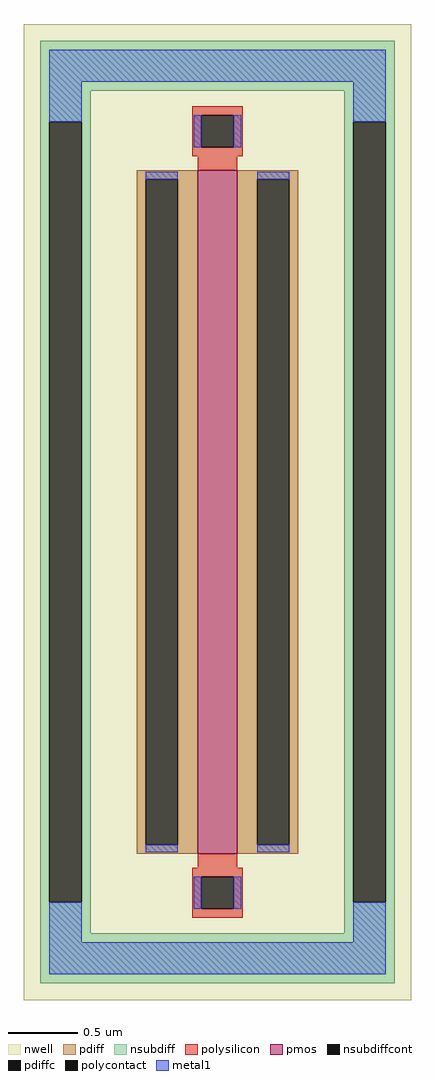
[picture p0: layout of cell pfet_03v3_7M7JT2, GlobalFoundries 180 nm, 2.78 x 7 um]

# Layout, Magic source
magic
tech gf180mcuD
magscale 1 10
<< nwell >>
rect -278 -700 278 700
<< pmos >>
rect -28 -490 28 490
<< pdiff >>
rect -116 477 -28 490
rect -116 -477 -103 477
rect -57 -477 -28 477
rect -116 -490 -28 -477
rect 28 477 116 490
rect 28 -477 57 477
rect 103 -477 116 477
rect 28 -490 116 -477
<< pdiffc >>
rect -103 -477 -57 477
rect 57 -477 103 477
<< nsubdiff >>
rect -254 604 254 676
rect -254 560 -182 604
rect -254 -560 -241 560
rect -195 -560 -182 560
rect 182 560 254 604
rect -254 -604 -182 -560
rect 182 -560 195 560
rect 241 -560 254 560
rect 182 -604 254 -560
rect -254 -676 254 -604
<< nsubdiffcont >>
rect -241 -560 -195 560
rect 195 -560 241 560
<< polysilicon >>
rect -36 569 36 582
rect -36 523 -23 569
rect 23 523 36 569
rect -36 510 36 523
rect -28 490 28 510
rect -28 -510 28 -490
rect -36 -523 36 -510
rect -36 -569 -23 -523
rect 23 -569 36 -523
rect -36 -582 36 -569
<< polycontact >>
rect -23 523 23 569
rect -23 -569 23 -523
<< metal1 >>
rect -241 617 241 663
rect -241 560 -195 617
rect -34 523 -23 569
rect 23 523 34 569
rect 195 560 241 617
rect -103 477 -57 488
rect -103 -488 -57 -477
rect 57 477 103 488
rect 57 -488 103 -477
rect -241 -617 -195 -560
rect -34 -569 -23 -523
rect 23 -569 34 -523
rect 195 -617 241 -560
rect -241 -663 241 -617
<< properties >>
string FIXED_BBOX -218 -640 218 640
string gencell pfet_03v3
string library gf180mcu
string parameters w 4.9 l 0.28 m 1 nf 1 diffcov 100 polycov 100 guard 1 glc 1 grc 1 gtc 0 gbc 0 tbcov 100 rlcov 100 topc 1 botc 1 poverlap 0 doverlap 1 lmin 0.28 wmin 0.22 class mosfet full_metal 1 compatible {pfet_03v3 pfet_05v0 pfet_06v0} ad {int((nf+1)/2) * W/nf * 0.18u} as {int((nf+2)/2) * W/nf * 0.18u} pd {2*int((nf+1)/2) * (W/nf + 0.18u)} ps {2*int((nf+2)/2) * (W/nf + 0.18u)} nrd {0.18u / W} nrs {0.18u / W} sa 0 sb 0 sd 0
<< end >>
